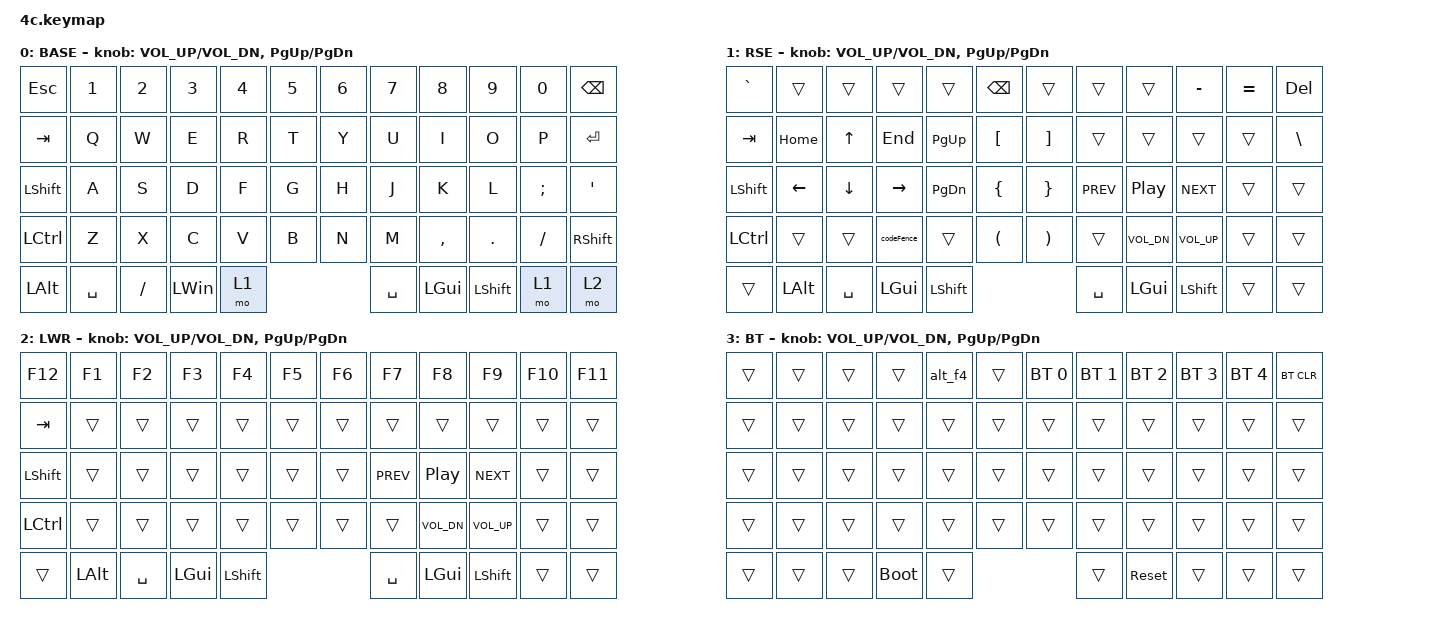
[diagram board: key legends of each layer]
/*
 * Copyright (c) 2020 The ZMK Contributors
 *
 * SPDX-License-Identifier: MIT
 */
/* THIS FILE WAS GENERATED!
 *
 * This file was generated automatically. You may or may not want to
 * edit it directly.
 */

#include <behaviors.dtsi>
#include <dt-bindings/zmk/bt.h>
#include <dt-bindings/zmk/keys.h>

/ {
    combos {
        compatible = "zmk,combos";

        btMo {
            bindings = <&mo 3>;
            key-positions = <56 57>;
        };
    };

    macros {
        codeFence: codeFence {
            compatible = "zmk,behavior-macro";
            label = "new_macro";
            #binding-cells = <0>;
            bindings =
                <&kp GRAVE &kp GRAVE &kp GRAVE &kp RET &kp RET &kp GRAVE &kp GRAVE &kp GRAVE &kp UP>,
                <&macro_press>;
        };

        alt_f4: alt_f4 {
            compatible = "zmk,behavior-macro";
            label = "ALT_F4";
            #binding-cells = <0>;
            bindings = <&kp LALT &kp F4>;
        };
    };

    keymap {
        compatible = "zmk,keymap";

        BASE {
            bindings = <
&kp ESC         &kp NUMBER_1  &kp NUMBER_2  &kp NUMBER_3  &kp NUMBER_4  &kp NUMBER_5    &kp NUMBER_6  &kp NUMBER_7  &kp NUMBER_8  &kp NUMBER_9    &kp NUMBER_0  &kp BACKSPACE
&kp TAB         &kp Q         &kp W         &kp E         &kp R         &kp T           &kp Y         &kp U         &kp I         &kp O           &kp P         &kp ENTER
&kp LEFT_SHIFT  &kp A         &kp S         &kp D         &kp F         &kp G           &kp H         &kp J         &kp K         &kp L           &kp SEMI      &kp APOS
&kp LCTRL       &kp Z         &kp X         &kp C         &kp V         &kp B           &kp N         &kp M         &kp COMMA     &kp PERIOD      &kp SLASH     &kp RIGHT_SHIFT
&kp LEFT_ALT    &kp SPACE     &kp SLASH     &kp LEFT_WIN  &mo 1                                       &kp SPACE     &kp LEFT_GUI  &kp LEFT_SHIFT  &mo 1         &mo 2
            >;

            sensor-bindings = <&inc_dec_kp C_VOL_UP C_VOL_DN &inc_dec_kp PG_UP PG_DN>;
        };

        RSE {
            bindings = <
&kp GRAVE       &trans        &trans     &trans        &trans          &kp BACKSPACE           &trans                 &trans      &trans        &kp MINUS       &kp EQUAL  &kp DELETE
&kp TAB         &kp HOME      &kp UP     &kp END       &kp PG_UP       &kp LEFT_BRACKET        &kp RIGHT_BRACKET      &trans      &trans        &trans          &trans     &kp BACKSLASH
&kp LEFT_SHIFT  &kp LEFT      &kp DOWN   &kp RIGHT     &kp PAGE_DOWN   &kp LEFT_BRACE          &kp RIGHT_BRACE        &kp C_PREV  &kp C_PP      &kp C_NEXT      &trans     &trans
&kp LCTRL       &trans        &trans     &codeFence    &trans          &kp LEFT_PARENTHESIS    &kp RIGHT_PARENTHESIS  &trans      &kp C_VOL_DN  &kp C_VOL_UP    &trans     &trans
&trans          &kp LEFT_ALT  &kp SPACE  &kp LEFT_GUI  &kp LEFT_SHIFT                                                 &kp SPACE   &kp LEFT_GUI  &kp LEFT_SHIFT  &trans     &trans
            >;

            sensor-bindings = <&inc_dec_kp C_VOL_UP C_VOL_DN &inc_dec_kp PG_UP PG_DN>;
        };

        LWR {
            bindings = <
&kp F12         &kp F1        &kp F2     &kp F3        &kp F4          &kp F5    &kp F6  &kp F7      &kp F8            &kp F9          &kp F10  &kp F11
&kp TAB         &trans        &trans     &trans        &trans          &trans    &trans  &trans      &trans            &trans          &trans   &trans
&kp LEFT_SHIFT  &trans        &trans     &trans        &trans          &trans    &trans  &kp C_PREV  &kp C_PLAY_PAUSE  &kp C_NEXT      &trans   &trans
&kp LCTRL       &trans        &trans     &trans        &trans          &trans    &trans  &trans      &kp C_VOL_DN      &kp C_VOL_UP    &trans   &trans
&trans          &kp LEFT_ALT  &kp SPACE  &kp LEFT_GUI  &kp LEFT_SHIFT                    &kp SPACE   &kp LEFT_GUI      &kp LEFT_SHIFT  &trans   &trans
            >;

            sensor-bindings = <&inc_dec_kp C_VOL_UP C_VOL_DN &inc_dec_kp PG_UP PG_DN>;
        };

        BT {
            bindings = <
&trans  &trans  &trans  &trans       &alt_f4  &trans    &bt BT_SEL 0  &bt BT_SEL 1  &bt BT_SEL 2  &bt BT_SEL 3  &bt BT_SEL 4  &bt BT_CLR
&trans  &trans  &trans  &trans       &trans   &trans    &trans        &trans        &trans        &trans        &trans        &trans
&trans  &trans  &trans  &trans       &trans   &trans    &trans        &trans        &trans        &trans        &trans        &trans
&trans  &trans  &trans  &trans       &trans   &trans    &trans        &trans        &trans        &trans        &trans        &trans
&trans  &trans  &trans  &bootloader  &trans                           &trans        &sys_reset    &trans        &trans        &trans
            >;

            sensor-bindings = <&inc_dec_kp C_VOL_UP C_VOL_DN &inc_dec_kp PG_UP PG_DN>;
        };
    };
};
